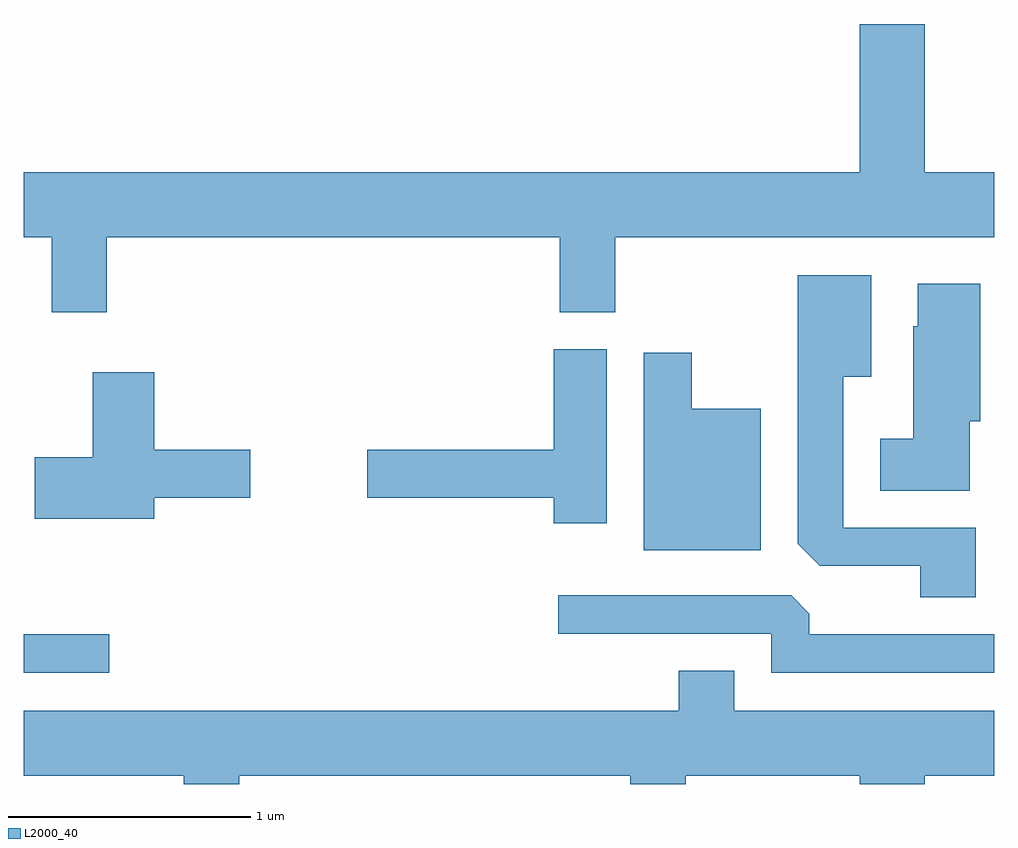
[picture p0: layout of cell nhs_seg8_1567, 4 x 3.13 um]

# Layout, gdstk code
import gdstk
lib = gdstk.Library(unit=1e-6, precision=1e-09)
def R(c, l, rs):  # rectangles x0, y0, x1, y1
    for r in rs: c.add(gdstk.rectangle(r[:2], r[2:], *l))
def P(c, l, *ps):  # polygons
    for p in ps: c.add(gdstk.Polygon(p, *l))
L2000_40 = (2000, 40)

nhs_seg8_1567 = lib.new_cell('nhs_seg8_1567')
R(nhs_seg8_1567, L2000_40, [(231.611,1876.801,231.963,1876.959)])
P(nhs_seg8_1567, L2000_40, [(231.954,1878.596),(233.821,1878.596),(233.821,1878.286),(234.049,1878.286),(234.049,1878.596),(235.611,1878.596),(235.611,1878.864),(235.324,1878.864),(235.324,1879.474),(235.056,1879.474),(235.056,1878.864),(231.611,1878.864),(231.611,1878.596),(231.726,1878.596),(231.726,1878.286),(231.954,1878.286)],
  [(235.534,1877.399),(234.989,1877.399),(234.989,1878.021),(235.104,1878.021),(235.104,1878.439),(234.801,1878.439),(234.801,1877.332),(234.892,1877.241),(235.306,1877.241),(235.306,1877.111),(235.534,1877.111)],
  [(235.509,1877.836),(235.554,1877.836),(235.554,1878.404),(235.296,1878.404),(235.296,1878.229),(235.276,1878.229),(235.276,1877.764),(235.141,1877.764),(235.141,1877.551),(235.509,1877.551)],
  [(234.014,1878.134),(233.796,1878.134),(233.796,1877.719),(233.026,1877.719),(233.026,1877.521),(233.796,1877.521),(233.796,1877.416),(234.014,1877.416)],
  [(234.649,1877.889),(234.364,1877.889),(234.364,1878.119),(234.166,1878.119),(234.166,1877.306),(234.649,1877.306)],
  [(232.149,1877.521),(232.544,1877.521),(232.544,1877.719),(232.149,1877.719),(232.149,1878.039),(231.896,1878.039),(231.896,1877.689),(231.656,1877.689),(231.656,1877.436),(232.149,1877.436)],
  [(235.611,1876.959),(234.849,1876.959),(234.849,1877.044),(234.774,1877.119),(233.813,1877.119),(233.813,1876.961),(234.691,1876.961),(234.691,1876.801),(235.611,1876.801)],
  [(234.539,1876.809),(234.311,1876.809),(234.311,1876.644),(231.611,1876.644),(231.611,1876.376),(232.271,1876.376),(232.271,1876.342),(232.499,1876.342),(232.499,1876.376),(234.111,1876.376),(234.111,1876.342),(234.339,1876.342),(234.339,1876.376),(235.056,1876.376),(235.056,1876.342),(235.324,1876.342),(235.324,1876.376),(235.611,1876.376),(235.611,1876.644),(234.539,1876.644)])

lib.write_gds('nhs_seg8_1567.gds')
